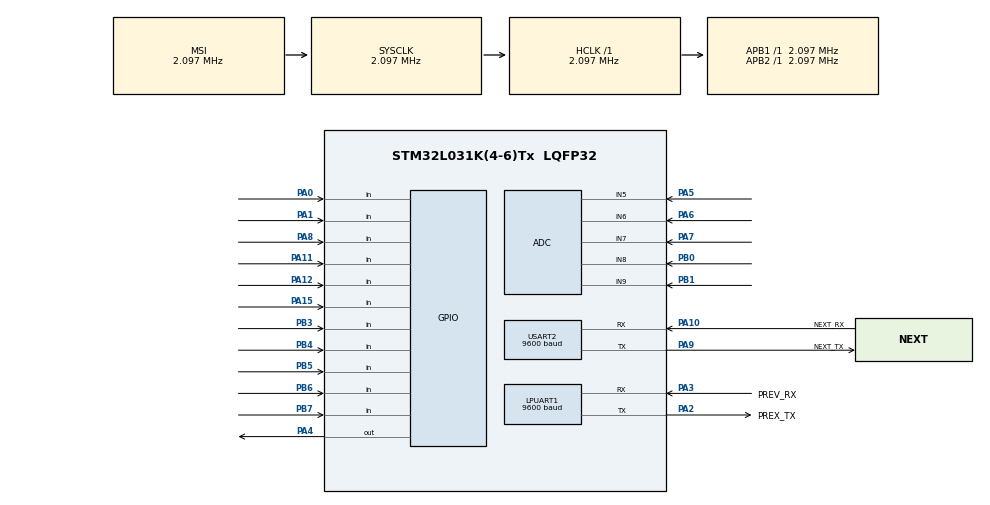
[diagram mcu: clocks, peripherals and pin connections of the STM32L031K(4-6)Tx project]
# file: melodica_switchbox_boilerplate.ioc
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ADC.ClockPrescaler=ADC_CLOCK_ASYNC_DIV16
ADC.ContinuousConvMode=ENABLE
ADC.DMAContinuousRequests=ENABLE
ADC.EOCSelection=ADC_EOC_SEQ_CONV
ADC.SamplingTime=ADC_SAMPLETIME_160CYCLES_5
Dma.ADC.0.Direction=DMA_PERIPH_TO_MEMORY
Dma.ADC.0.Instance=DMA1_Channel1
Dma.ADC.0.MemDataAlignment=DMA_MDATAALIGN_HALFWORD
Dma.ADC.0.MemInc=DMA_MINC_ENABLE
Dma.ADC.0.Mode=DMA_CIRCULAR
Dma.ADC.0.PeriphDataAlignment=DMA_PDATAALIGN_HALFWORD
Dma.ADC.0.PeriphInc=DMA_PINC_DISABLE
Dma.ADC.0.Priority=DMA_PRIORITY_MEDIUM
Dma.Request0=ADC
LPUART1.BaudRate=9600
LPUART1.WordLength=UART_WORDLENGTH_8B
Mcu.Family=STM32L0
Mcu.Name=STM32L031K(4-6)Tx
Mcu.Package=LQFP32
NVIC.DMA1_Channel1_IRQn=true\:0\:0\:false\:false\:true\:false\:true\:true
NVIC.LPUART1_IRQn=true\:0\:0\:false\:false\:true\:true\:true\:true
NVIC.USART2_IRQn=true\:0\:0\:false\:false\:true\:true\:true\:true
PA0-CK_IN.GPIO_PuPd=GPIO_PULLDOWN
PA0-CK_IN.Signal=GPIO_Input
PA1.GPIO_PuPd=GPIO_PULLDOWN
PA1.Signal=GPIO_Input
PA10.GPIO_Label=NEXT_RX
PA10.Mode=Asynchronous
PA10.Signal=USART2_RX
PA11.GPIO_PuPd=GPIO_PULLDOWN
PA11.Signal=GPIO_Input
PA12.GPIO_PuPd=GPIO_PULLDOWN
PA12.Signal=GPIO_Input
PA13.Mode=Serial_Wire
PA13.Signal=SYS_SWDIO
PA14.Mode=Serial_Wire
PA14.Signal=SYS_SWCLK
PA15.GPIO_PuPd=GPIO_PULLDOWN
PA15.Signal=GPIO_Input
PA2.GPIO_Label=PREX_TX
PA2.Mode=Asynchronous
PA2.Signal=LPUART1_TX
PA3.GPIO_Label=PREV_RX
PA3.Mode=Asynchronous
PA3.Signal=LPUART1_RX
PA4.Signal=GPIO_Output
PA5.Signal=SharedAnalog_PA5
PA6.Signal=SharedAnalog_PA6
PA7.Signal=SharedAnalog_PA7
PA8.GPIO_PuPd=GPIO_PULLDOWN
PA8.Signal=GPIO_Input
PA9.GPIO_Label=NEXT_TX
PA9.Mode=Asynchronous
PA9.Signal=USART2_TX
PB0.Signal=SharedAnalog_PB0
PB1.Signal=SharedAnalog_PB1
PB3.GPIO_PuPd=GPIO_PULLDOWN
PB3.Signal=GPIO_Input
PB4.GPIO_PuPd=GPIO_PULLDOWN
PB4.Signal=GPIO_Input
PB5.GPIO_PuPd=GPIO_PULLDOWN
PB5.Signal=GPIO_Input
PB6.GPIO_PuPd=GPIO_PULLDOWN
PB6.Signal=GPIO_Input
PB7.GPIO_PuPd=GPIO_PULLDOWN
PB7.Signal=GPIO_Input
ProjectManager.HeapSize=0x200
ProjectManager.StackSize=0x400
ProjectManager.TargetToolchain=STM32CubeIDE
RCC.AHBFreq_Value=2097000
RCC.APB1Freq_Value=2097000
RCC.APB1TimFreq_Value=2097000
RCC.APB2Freq_Value=2097000
RCC.APB2TimFreq_Value=2097000
RCC.HSE_VALUE=8000000
RCC.HSI16_VALUE=16000000
RCC.HSI_VALUE=16000000
RCC.LSE_VALUE=32768
RCC.MSI_VALUE=2097000
RCC.SYSCLKFreq_VALUE=2097000
RCC.VCOOutputFreq_Value=48000000
SH.SharedAnalog_PA5.0=GPIO_Analog
SH.SharedAnalog_PA5.1=ADC_IN5,IN5
SH.SharedAnalog_PA6.0=GPIO_Analog
SH.SharedAnalog_PA6.1=ADC_IN6,IN6
SH.SharedAnalog_PA7.0=GPIO_Analog
SH.SharedAnalog_PA7.1=ADC_IN7,IN7
SH.SharedAnalog_PB0.0=GPIO_Analog
SH.SharedAnalog_PB0.1=ADC_IN8,IN8
SH.SharedAnalog_PB1.0=GPIO_Analog
SH.SharedAnalog_PB1.1=ADC_IN9,IN9
USART2.BaudRate=9600
USART2.VirtualMode-Asynchronous=VM_ASYNC
board=custom

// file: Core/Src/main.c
/* USER CODE BEGIN Header */
/**
  ******************************************************************************
  * @file           : main.c
  * @brief          : Main program body
  ******************************************************************************
  * @attention
  *
  * Copyright (c) 2025 STMicroelectronics.
  * All rights reserved.
  *
  * This software is licensed under terms that can be found in the LICENSE file
  * in the root directory of this software component.
  * If no LICENSE file comes with this software, it is provided AS-IS.
  *
  ******************************************************************************
  */
/* USER CODE END Header */
#include "main.h"

/* USER CODE BEGIN Includes */
#include "protocol.h"
#include "config.h"
#include "IODevices.h"
#include "IOManager.h"
#include "modules.h"
/* USER CODE END Includes */

ADC_HandleTypeDef hadc;
DMA_HandleTypeDef hdma_adc;

UART_HandleTypeDef hlpuart1;
UART_HandleTypeDef huart2;

void SystemClock_Config(void);
static void MX_GPIO_Init(void);
static void MX_DMA_Init(void);
static void MX_USART2_UART_Init(void);
static void MX_LPUART1_UART_Init(void);
static void MX_ADC_Init(void);

/* USER CODE BEGIN 0 */
uint8_t test;
uint8_t test2;

void HAL_UART_RxCpltCallback(UART_HandleTypeDef *huart)
{

    if (huart->Instance == USART2) {
    	Next_ProcessByte();
    }

    if (huart->Instance == LPUART1) {
    	Prev_ProcessByte();

    }
}
/* USER CODE END 0 */

int main(void)
{

  /* MCU Configuration--------------------------------------------------------*/

  /* Reset of all peripherals, Initializes the Flash interface and the Systick. */
  HAL_Init();

  /* Configure the system clock */
  SystemClock_Config();

  /* Initialize all configured peripherals */
  MX_GPIO_Init();
  MX_DMA_Init();
  MX_USART2_UART_Init();
  MX_LPUART1_UART_Init();
  MX_ADC_Init();
  /* USER CODE BEGIN 2 */

  Switchbox_Init();
  IOinit();
  registerAll3PDTToggleSwitches();
  registerAllPots(&hadc);

  // Quick delay ensures the synth board is ready to receive commands before sending first poll update
  HAL_Delay(100);

  /* USER CODE END 2 */

  /* Infinite loop */
  /* USER CODE BEGIN WHILE */

  uint32_t cur_t;
  uint32_t last_msg_timestamp = HAL_GetTick();
  uint32_t cur_t_2;
  uint32_t last_msg_timestamp_2 = HAL_GetTick();
  while (1) {

	cur_t_2 = HAL_GetTick();
	if (cur_t_2 - last_msg_timestamp_2 > IO_POLL_MSG_PERIOD_MS) {
		pollInputs();

		last_msg_timestamp_2 = cur_t_2;
	}

	// Every second, if this is the last module send a connectivity update - TODO: Check if last module???
	cur_t = HAL_GetTick();
	if (cur_t - last_msg_timestamp > UPDATE_MSG_PERIOD_MS && cur_t - last_rx_timestamp > UPDATE_MSG_PERIOD_MS * 2) {
		// Last module in chain send heartbeat
		//HAL_UART_Transmit(&huart2, connectivity_msg, sizeof(SwitchboxMsg), 1000000);

		last_msg_timestamp = cur_t;
	}

    /* USER CODE END WHILE */

  }
}

void SystemClock_Config(void)
{
  RCC_OscInitTypeDef RCC_OscInitStruct = {0};
  RCC_ClkInitTypeDef RCC_ClkInitStruct = {0};
  RCC_PeriphCLKInitTypeDef PeriphClkInit = {0};

  /** Configure the main internal regulator output voltage
  */
  __HAL_PWR_VOLTAGESCALING_CONFIG(PWR_REGULATOR_VOLTAGE_SCALE1);

  /** Initializes the RCC Oscillators according to the specified parameters
  * in the RCC_OscInitTypeDef structure.
  */
  RCC_OscInitStruct.OscillatorType = RCC_OSCILLATORTYPE_HSI|RCC_OSCILLATORTYPE_MSI;
  RCC_OscInitStruct.HSIState = RCC_HSI_ON;
  RCC_OscInitStruct.HSICalibrationValue = RCC_HSICALIBRATION_DEFAULT;
  RCC_OscInitStruct.MSIState = RCC_MSI_ON;
  RCC_OscInitStruct.MSICalibrationValue = 0;
  RCC_OscInitStruct.MSIClockRange = RCC_MSIRANGE_5;
  RCC_OscInitStruct.PLL.PLLState = RCC_PLL_NONE;
  if (HAL_RCC_OscConfig(&RCC_OscInitStruct) != HAL_OK)
  {
    Error_Handler();
  }

  /** Initializes the CPU, AHB and APB buses clocks
  */
  RCC_ClkInitStruct.ClockType = RCC_CLOCKTYPE_HCLK|RCC_CLOCKTYPE_SYSCLK
                              |RCC_CLOCKTYPE_PCLK1|RCC_CLOCKTYPE_PCLK2;
  RCC_ClkInitStruct.SYSCLKSource = RCC_SYSCLKSOURCE_MSI;
  RCC_ClkInitStruct.AHBCLKDivider = RCC_SYSCLK_DIV1;
  RCC_ClkInitStruct.APB1CLKDivider = RCC_HCLK_DIV1;
  RCC_ClkInitStruct.APB2CLKDivider = RCC_HCLK_DIV1;

  if (HAL_RCC_ClockConfig(&RCC_ClkInitStruct, FLASH_LATENCY_0) != HAL_OK)
  {
    Error_Handler();
  }
  PeriphClkInit.PeriphClockSelection = RCC_PERIPHCLK_USART2|RCC_PERIPHCLK_LPUART1;
  PeriphClkInit.Usart2ClockSelection = RCC_USART2CLKSOURCE_PCLK1;
  PeriphClkInit.Lpuart1ClockSelection = RCC_LPUART1CLKSOURCE_PCLK1;
  if (HAL_RCCEx_PeriphCLKConfig(&PeriphClkInit) != HAL_OK)
  {
    Error_Handler();
  }
}

static void MX_ADC_Init(void)
{

  ADC_ChannelConfTypeDef sConfig = {0};

  /** Configure the global features of the ADC (Clock, Resolution, Data Alignment and number of conversion)
  */
  hadc.Instance = ADC1;
  hadc.Init.OversamplingMode = DISABLE;
  hadc.Init.ClockPrescaler = ADC_CLOCK_ASYNC_DIV16;
  hadc.Init.Resolution = ADC_RESOLUTION_12B;
  hadc.Init.SamplingTime = ADC_SAMPLETIME_160CYCLES_5;
  hadc.Init.ScanConvMode = ADC_SCAN_DIRECTION_FORWARD;
  hadc.Init.DataAlign = ADC_DATAALIGN_RIGHT;
  hadc.Init.ContinuousConvMode = ENABLE;
  hadc.Init.DiscontinuousConvMode = DISABLE;
  hadc.Init.ExternalTrigConvEdge = ADC_EXTERNALTRIGCONVEDGE_NONE;
  hadc.Init.ExternalTrigConv = ADC_SOFTWARE_START;
  hadc.Init.DMAContinuousRequests = ENABLE;
  hadc.Init.EOCSelection = ADC_EOC_SEQ_CONV;
  hadc.Init.Overrun = ADC_OVR_DATA_PRESERVED;
  hadc.Init.LowPowerAutoWait = DISABLE;
  hadc.Init.LowPowerFrequencyMode = ENABLE;
  hadc.Init.LowPowerAutoPowerOff = DISABLE;
  if (HAL_ADC_Init(&hadc) != HAL_OK)
  {
    Error_Handler();
  }

  /** Configure for the selected ADC regular channel to be converted.
  */
  sConfig.Channel = ADC_CHANNEL_5;
  sConfig.Rank = ADC_RANK_CHANNEL_NUMBER;
  if (HAL_ADC_ConfigChannel(&hadc, &sConfig) != HAL_OK)
  {
    Error_Handler();
  }

  /** Configure for the selected ADC regular channel to be converted.
  */
  sConfig.Channel = ADC_CHANNEL_6;
  if (HAL_ADC_ConfigChannel(&hadc, &sConfig) != HAL_OK)
  {
    Error_Handler();
  }

  /** Configure for the selected ADC regular channel to be converted.
  */
  sConfig.Channel = ADC_CHANNEL_7;
  if (HAL_ADC_ConfigChannel(&hadc, &sConfig) != HAL_OK)
  {
    Error_Handler();
  }

  /** Configure for the selected ADC regular channel to be converted.
  */
  sConfig.Channel = ADC_CHANNEL_8;
  if (HAL_ADC_ConfigChannel(&hadc, &sConfig) != HAL_OK)
  {
    Error_Handler();
  }

  /** Configure for the selected ADC regular channel to be converted.
  */
  sConfig.Channel = ADC_CHANNEL_9;
  if (HAL_ADC_ConfigChannel(&hadc, &sConfig) != HAL_OK)
  {
    Error_Handler();
  }

}

static void MX_LPUART1_UART_Init(void)
{

  hlpuart1.Instance = LPUART1;
  hlpuart1.Init.BaudRate = 9600;
  hlpuart1.Init.WordLength = UART_WORDLENGTH_8B;
  hlpuart1.Init.StopBits = UART_STOPBITS_1;
  hlpuart1.Init.Parity = UART_PARITY_NONE;
  hlpuart1.Init.Mode = UART_MODE_TX_RX;
  hlpuart1.Init.HwFlowCtl = UART_HWCONTROL_NONE;
  hlpuart1.Init.OneBitSampling = UART_ONE_BIT_SAMPLE_DISABLE;
  hlpuart1.AdvancedInit.AdvFeatureInit = UART_ADVFEATURE_NO_INIT;
  if (HAL_UART_Init(&hlpuart1) != HAL_OK)
  {
    Error_Handler();
  }

}

static void MX_USART2_UART_Init(void)
{

  huart2.Instance = USART2;
  huart2.Init.BaudRate = 9600;
  huart2.Init.WordLength = UART_WORDLENGTH_8B;
  huart2.Init.StopBits = UART_STOPBITS_1;
  huart2.Init.Parity = UART_PARITY_NONE;
  huart2.Init.Mode = UART_MODE_TX_RX;
  huart2.Init.HwFlowCtl = UART_HWCONTROL_NONE;
  huart2.Init.OverSampling = UART_OVERSAMPLING_16;
  huart2.Init.OneBitSampling = UART_ONE_BIT_SAMPLE_DISABLE;
  huart2.AdvancedInit.AdvFeatureInit = UART_ADVFEATURE_NO_INIT;
  if (HAL_UART_Init(&huart2) != HAL_OK)
  {
    Error_Handler();
  }

}

static void MX_DMA_Init(void)
{

  /* DMA controller clock enable */
  __HAL_RCC_DMA1_CLK_ENABLE();

  /* DMA interrupt init */
  /* DMA1_Channel1_IRQn interrupt configuration */
  HAL_NVIC_SetPriority(DMA1_Channel1_IRQn, 0, 0);
  HAL_NVIC_EnableIRQ(DMA1_Channel1_IRQn);

}

static void MX_GPIO_Init(void)
{
  GPIO_InitTypeDef GPIO_InitStruct = {0};

  /* GPIO Ports Clock Enable */
  __HAL_RCC_GPIOA_CLK_ENABLE();
  __HAL_RCC_GPIOB_CLK_ENABLE();

  /*Configure GPIO pin Output Level */
  HAL_GPIO_WritePin(GPIOA, GPIO_PIN_4, GPIO_PIN_RESET);

  /*Configure GPIO pins : PA0 PA1 PA8 PA11
                           PA12 PA15 */
  GPIO_InitStruct.Pin = GPIO_PIN_0|GPIO_PIN_1|GPIO_PIN_8|GPIO_PIN_11
                          |GPIO_PIN_12|GPIO_PIN_15;
  GPIO_InitStruct.Mode = GPIO_MODE_INPUT;
  GPIO_InitStruct.Pull = GPIO_PULLDOWN;
  HAL_GPIO_Init(GPIOA, &GPIO_InitStruct);

  /*Configure GPIO pin : PA4 */
  GPIO_InitStruct.Pin = GPIO_PIN_4;
  GPIO_InitStruct.Mode = GPIO_MODE_OUTPUT_PP;
  GPIO_InitStruct.Pull = GPIO_NOPULL;
  GPIO_InitStruct.Speed = GPIO_SPEED_FREQ_LOW;
  HAL_GPIO_Init(GPIOA, &GPIO_InitStruct);

  /*Configure GPIO pins : PB3 PB4 PB5 PB6
                           PB7 */
  GPIO_InitStruct.Pin = GPIO_PIN_3|GPIO_PIN_4|GPIO_PIN_5|GPIO_PIN_6
                          |GPIO_PIN_7;
  GPIO_InitStruct.Mode = GPIO_MODE_INPUT;
  GPIO_InitStruct.Pull = GPIO_PULLDOWN;
  HAL_GPIO_Init(GPIOB, &GPIO_InitStruct);

}

void Error_Handler(void)
{
  __disable_irq();
  while (1)
  {
  }
}
